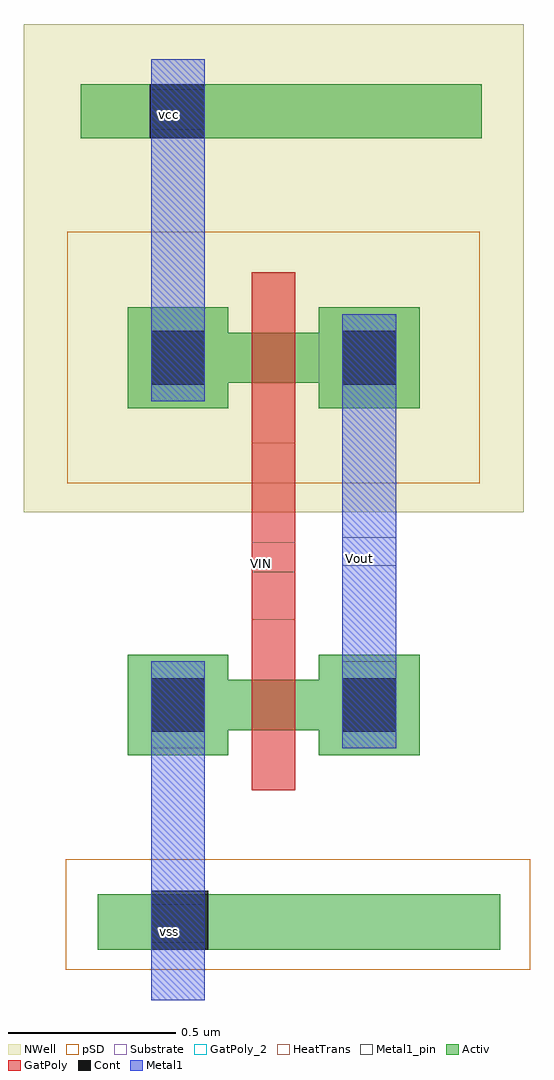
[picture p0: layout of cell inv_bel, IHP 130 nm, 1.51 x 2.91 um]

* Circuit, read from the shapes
.subckt inv_bel VIN Vout vcc vss
XM1 Vout VIN vss vss sg13_lv_nmos w=0.15u l=0.13u
XM2 Vout VIN vcc vcc sg13_lv_pmos w=0.15u l=0.13u
.ends

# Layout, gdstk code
import gdstk
lib = gdstk.Library(unit=1e-6, precision=5e-09)
def R(c, l, rs):  # rectangles x0, y0, x1, y1
    for r in rs: c.add(gdstk.rectangle(r[:2], r[2:], *l))
Activ = (1, 0)
GatPoly = (5, 0)
GatPoly_2 = (5, 2)
Cont = (6, 0)
Metal1 = (8, 0)
Metal1_pin = (8, 2)
pSD = (14, 0)
NWell = (31, 0)
Substrate = (40, 0)
HeatTrans = (51, 0)

pmos = lib.new_cell('pmos')
R(pmos, Activ, [(0,0,0.3,0.3), (0.57,0,0.87,0.3), (0,0.075,0.87,0.225)])
R(pmos, GatPoly, [(0.37,-0.105,0.5,0.405), (0.37,-0.105,0.5,0.405)])
R(pmos, Cont, [(0.07,0.07,0.23,0.23), (0.64,0.07,0.8,0.23)])
R(pmos, Metal1, [(0.07,0.02,0.23,0.28), (0.07,0.02,0.23,0.28), (0.64,0.02,0.8,0.28), (0.64,0.02,0.8,0.28)])
R(pmos, pSD, [(-0.18,-0.225,1.05,0.525)])
R(pmos, NWell, [(-0.31,-0.31,1.18,0.61)])
R(pmos, Substrate, [(0.57,0,0.87,0.3)])
R(pmos, HeatTrans, [(0.37,-0.105,0.5,0.405)])
pmos.add(gdstk.Label('pmos', (0.435,0.15), layer=63, texttype=0))
pmos.add(gdstk.Label('pmos', (0.435,0.15), layer=51, texttype=0))

nmos = lib.new_cell('nmos')
R(nmos, Activ, [(0,0,0.3,0.3), (0.57,0,0.87,0.3), (0,0.075,0.87,0.225)])
R(nmos, GatPoly, [(0.37,-0.105,0.5,0.405)])
R(nmos, GatPoly_2, [(0.37,-0.105,0.5,0.405)])
R(nmos, Cont, [(0.07,0.07,0.23,0.23), (0.64,0.07,0.8,0.23)])
R(nmos, Metal1, [(0.07,0.02,0.23,0.28), (0.64,0.02,0.8,0.28)])
R(nmos, Metal1_pin, [(0.07,0.02,0.23,0.28), (0.64,0.02,0.8,0.28)])
R(nmos, HeatTrans, [(0.37,-0.105,0.5,0.405)])
nmos.add(gdstk.Label('nmos', (0.435,0.15), layer=63, texttype=0))
nmos.add(gdstk.Label('nmos', (0.435,0.15), layer=51, texttype=0))

inv_bel = lib.new_cell('inv_bel')
R(inv_bel, Activ, [(0.22,0.15,1.42,0.315), (0.17,2.57,1.365,2.73)])
R(inv_bel, GatPoly, [(0.68,1.135,0.81,1.66)])
R(inv_bel, GatPoly_2, [(0.68,1.275,0.81,1.365)])
R(inv_bel, Cont, [(0.38,0.15,0.55,0.325), (0.375,2.57,0.54,2.73)])
R(inv_bel, Metal1, [(0.38,0,0.54,0.75), (0.95,1.01,1.11,1.785), (0.38,2.045,0.54,2.805)])
R(inv_bel, Metal1_pin, [(0.38,0.17,0.54,0.285), (0.95,1.295,1.11,1.38), (0.38,2.595,0.54,2.715)])
R(inv_bel, pSD, [(0.125,0.09,1.51,0.42)])
R(inv_bel, NWell, [(0,2.375,1.49,2.91)])
inv_bel.add(gdstk.Reference(pmos, (0.31,1.765)))
inv_bel.add(gdstk.Reference(nmos, (0.31,0.73)))
inv_bel.add(gdstk.Label('Vout', (1,1.315), layer=8, texttype=2))
inv_bel.add(gdstk.Label('vss', (0.435,0.205), layer=8, texttype=2))
inv_bel.add(gdstk.Label('vcc', (0.435,2.64), layer=8, texttype=2))
inv_bel.add(gdstk.Label('VIN', (0.71,1.3), layer=5, texttype=2))

lib.write_gds('inv_bel.gds')
